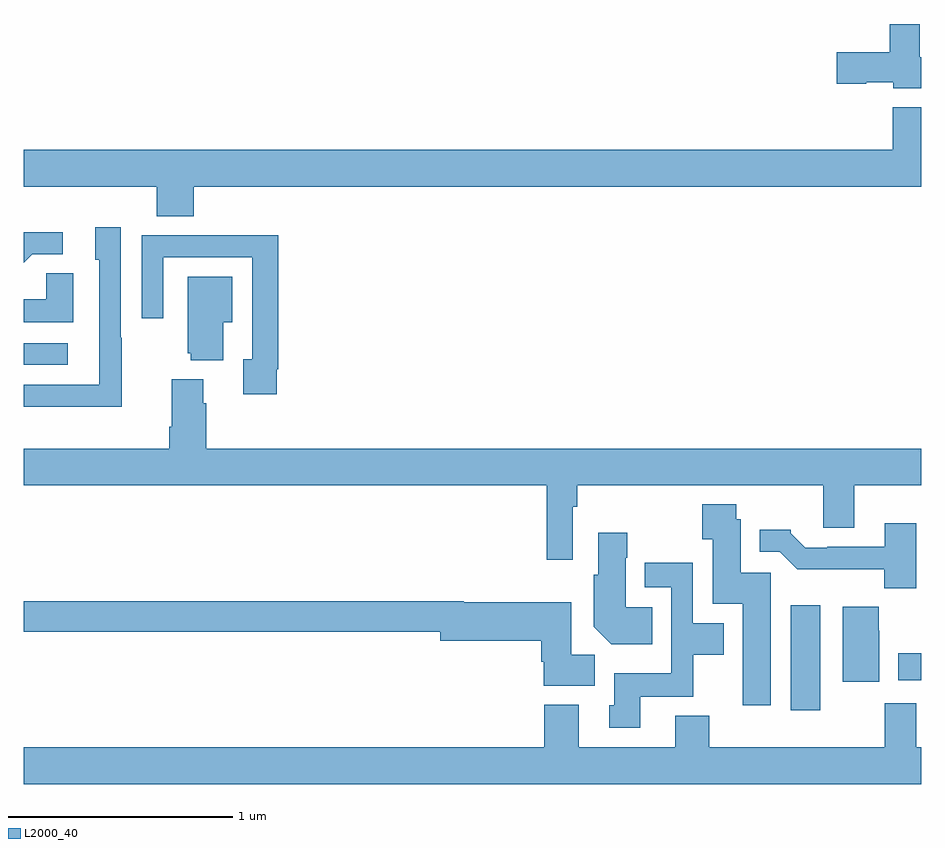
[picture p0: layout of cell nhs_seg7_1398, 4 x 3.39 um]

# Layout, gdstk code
import gdstk
lib = gdstk.Library(unit=1e-6, precision=1e-09)
def R(c, l, rs):  # rectangles x0, y0, x1, y1
    for r in rs: c.add(gdstk.rectangle(r[:2], r[2:], *l))
def P(c, l, *ps):  # polygons
    for p in ps: c.add(gdstk.Polygon(p, *l))
L2000_40 = (2000, 40)

nhs_seg7_1398 = lib.new_cell('nhs_seg7_1398')
R(nhs_seg7_1398, L2000_40, [(210.419,1016.928,210.55,1017.397), (210.899,1017.062,211,1017.184), (207,1018.47,207.196,1018.566)])
P(nhs_seg7_1398, L2000_40, [(211,1019.84),(210.994,1019.84),(210.994,1019.989),(210.86,1019.989),(210.86,1019.864),(210.624,1019.864),(210.624,1019.722),(210.756,1019.722),(210.756,1019.729),(210.876,1019.729),(210.876,1019.702),(211,1019.702)],
  [(207.758,1019.264),(211,1019.264),(211,1019.617),(210.875,1019.617),(210.875,1019.428),(207,1019.428),(207,1019.264),(207.593,1019.264),(207.593,1019.131),(207.758,1019.131)],
  [(207.435,1018.589),(207.432,1018.589),(207.432,1019.083),(207.317,1019.083),(207.317,1018.938),(207.336,1018.938),(207.336,1018.38),(207,1018.38),(207,1018.283),(207.435,1018.283)],
  [(207.037,1018.962),(207.172,1018.962),(207.172,1019.06),(207,1019.06),(207,1018.925)],
  [(208.126,1018.45),(208.133,1018.45),(208.133,1019.048),(207.841,1019.048),(207.841,1019.046),(207.525,1019.046),(207.525,1018.677),(207.621,1018.677),(207.621,1018.95),(208.017,1018.95),(208.017,1018.494),(207.977,1018.494),(207.977,1018.338),(208.126,1018.338)],
  [(207.22,1018.877),(207.099,1018.877),(207.099,1018.762),(207,1018.762),(207,1018.658),(207.22,1018.658)],
  [(207.889,1018.658),(207.928,1018.658),(207.928,1018.861),(207.731,1018.861),(207.731,1018.521),(207.743,1018.521),(207.743,1018.49),(207.889,1018.49)],
  [(209.448,1017.836),(209.468,1017.836),(209.468,1017.932),(210.563,1017.932),(210.563,1017.742),(210.703,1017.742),(210.703,1017.932),(211,1017.932),(211,1018.096),(207.812,1018.096),(207.812,1018.298),(207.799,1018.298),(207.799,1018.405),(207.659,1018.405),(207.659,1018.192),(207.647,1018.192),(207.647,1018.096),(207,1018.096),(207,1017.932),(209.332,1017.932),(209.332,1017.6),(209.448,1017.6)],
  [(210.331,1017.543),(210.196,1017.543),(210.196,1017.78),(210.177,1017.78),(210.177,1017.847),(210.025,1017.847),(210.025,1017.691),(210.071,1017.691),(210.071,1017.404),(210.206,1017.404),(210.206,1016.952),(210.331,1016.952)],
  [(210.979,1017.763),(210.839,1017.763),(210.839,1017.657),(210.583,1017.657),(210.583,1017.654),(210.484,1017.654),(210.42,1017.718),(210.42,1017.733),(210.281,1017.733),(210.281,1017.636),(210.369,1017.636),(210.448,1017.558),(210.837,1017.558),(210.837,1017.473),(210.979,1017.473)],
  [(209.801,1017.388),(209.683,1017.388),(209.683,1017.608),(209.691,1017.608),(209.691,1017.721),(209.561,1017.721),(209.561,1017.534),(209.54,1017.534),(209.54,1017.302),(209.618,1017.224),(209.801,1017.224)],
  [(209.749,1016.99),(209.985,1016.99),(209.985,1017.176),(210.121,1017.176),(210.121,1017.316),(209.982,1017.316),(209.982,1017.586),(209.769,1017.586),(209.769,1017.477),(209.886,1017.477),(209.886,1017.094),(209.633,1017.094),(209.633,1016.952),(209.609,1016.952),(209.609,1016.85),(209.749,1016.85)],
  [(209.545,1017.176),(209.44,1017.176),(209.44,1017.41),(208.96,1017.41),(208.96,1017.416),(207,1017.416),(207,1017.28),(208.856,1017.28),(208.856,1017.238),(209.306,1017.238),(209.306,1017.146),(209.318,1017.146),(209.318,1017.038),(209.545,1017.038)],
  [(210.814,1017.284),(210.812,1017.284),(210.812,1017.391),(210.65,1017.391),(210.65,1017.057),(210.814,1017.057)],
  [(209.903,1016.905),(209.903,1016.764),(209.473,1016.764),(209.473,1016.953),(209.321,1016.953),(209.321,1016.764),(207,1016.764),(207,1016.6),(211,1016.6),(211,1016.764),(210.979,1016.764),(210.979,1016.959),(210.839,1016.959),(210.839,1016.764),(210.056,1016.764),(210.056,1016.905)])

lib.write_gds('nhs_seg7_1398.gds')
